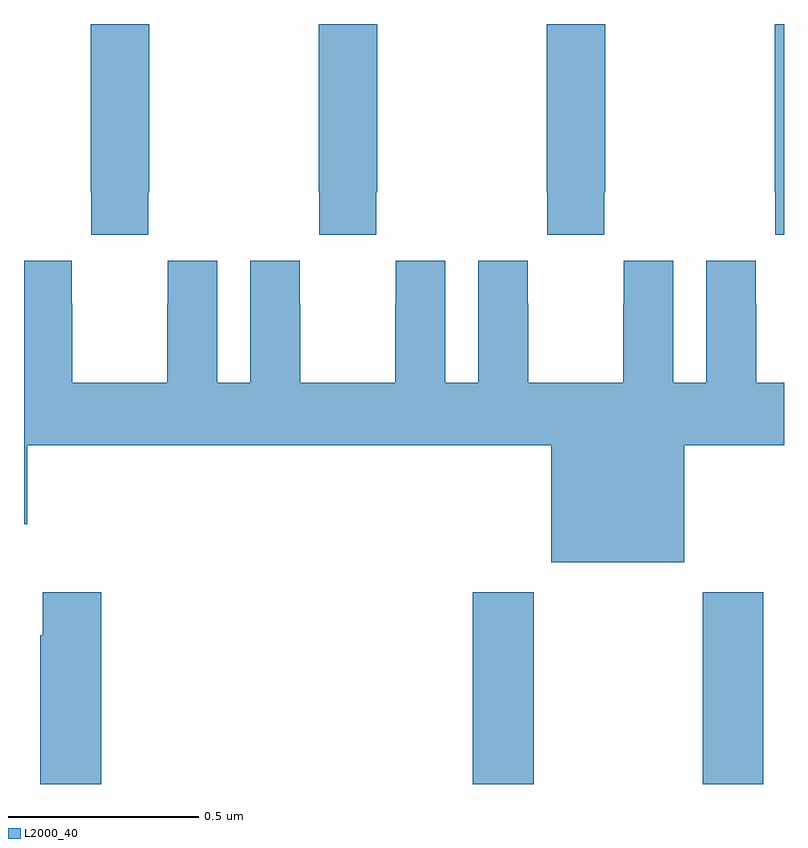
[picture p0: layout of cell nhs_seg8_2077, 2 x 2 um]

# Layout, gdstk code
import gdstk
lib = gdstk.Library(unit=1e-6, precision=1e-09)
def R(c, l, rs):  # rectangles x0, y0, x1, y1
    for r in rs: c.add(gdstk.rectangle(r[:2], r[2:], *l))
def P(c, l, *ps):  # polygons
    for p in ps: c.add(gdstk.Polygon(p, *l))
L2000_40 = (2000, 40)

nhs_seg8_2077 = lib.new_cell('nhs_seg8_2077')
R(nhs_seg8_2077, L2000_40, [(139.181,1156.9,139.341,1157.404), (139.786,1156.9,139.946,1157.404)])
P(nhs_seg8_2077, L2000_40, [(139.375,1158.457),(139.377,1158.457),(139.377,1158.345),(139.527,1158.345),(139.527,1158.457),(139.53,1158.457),(139.53,1158.9),(139.375,1158.9)],
  [(138.927,1158.457),(138.93,1158.457),(138.93,1158.9),(138.775,1158.9),(138.775,1158.457),(138.777,1158.457),(138.777,1158.345),(138.927,1158.345)],
  [(140,1158.9),(139.975,1158.9),(139.975,1158.457),(139.977,1158.457),(139.977,1158.345),(140,1158.345)],
  [(138.327,1158.457),(138.33,1158.457),(138.33,1158.9),(138.175,1158.9),(138.175,1158.457),(138.177,1158.457),(138.177,1158.345),(138.327,1158.345)],
  [(139.738,1157.792),(140,1157.792),(140,1157.956),(139.927,1157.956),(139.927,1158.164),(139.926,1158.164),(139.926,1158.277),(139.796,1158.277),(139.796,1157.956),(139.708,1157.956),(139.708,1158.277),(139.578,1158.277),(139.578,1158.164),(139.577,1158.164),(139.577,1157.956),(139.327,1157.956),(139.327,1158.164),(139.326,1158.164),(139.326,1158.277),(139.196,1158.277),(139.196,1157.956),(139.108,1157.956),(139.108,1158.277),(138.978,1158.277),(138.978,1158.164),(138.977,1158.164),(138.977,1157.956),(138.727,1157.956),(138.727,1158.164),(138.726,1158.164),(138.726,1158.277),(138.596,1158.277),(138.596,1157.956),(138.508,1157.956),(138.508,1158.277),(138.378,1158.277),(138.378,1158.164),(138.377,1158.164),(138.377,1157.956),(138.127,1157.956),(138.127,1158.164),(138.126,1158.164),(138.126,1158.277),(138,1158.277),(138,1157.584),(138.008,1157.584),(138.008,1157.792),(139.388,1157.792),(139.388,1157.483),(139.738,1157.483)],
  [(138.203,1157.404),(138.049,1157.404),(138.049,1157.291),(138.043,1157.291),(138.043,1156.9),(138.203,1156.9)])

lib.write_gds('nhs_seg8_2077.gds')
